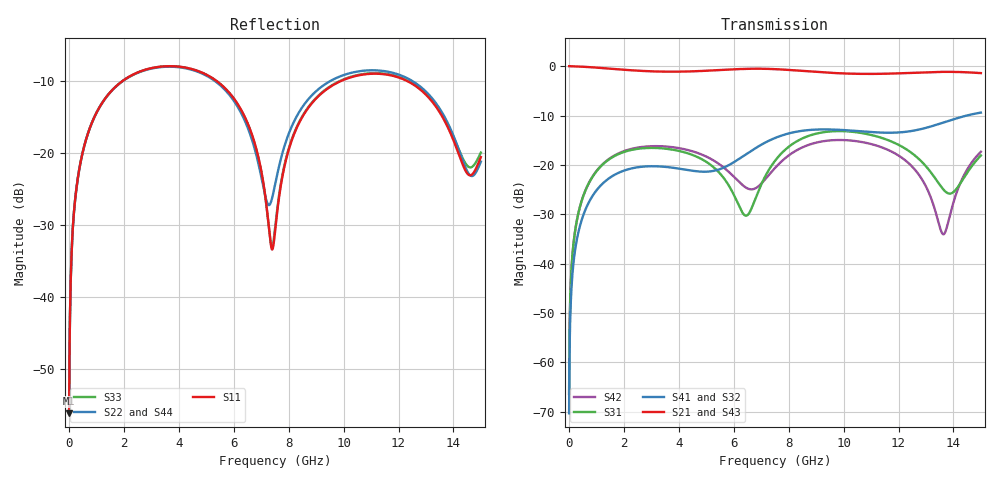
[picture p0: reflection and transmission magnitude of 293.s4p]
! Created with skrf 1.8.0 (http://scikit-rf.org).
# GHz S RI R 50.0
!freq ReS11 ImS11 ReS12 ImS12 ReS13 ImS13
! ReS14 ImS14
! ReS21 ImS21 ReS22 ImS22 ReS23 ImS23
! ReS24 ImS24
! ReS31 ImS31 ReS32 ImS32 ReS33 ImS33
! ReS34 ImS34
! ReS41 ImS41 ReS42 ImS42 ReS43 ImS43
! ReS44 ImS44
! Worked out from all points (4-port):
!   2499 points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, 5 MHz to 15 GHz, reference 50 ohm
!   strongest paths, dB at 5 MHz, 3.476 GHz, 7.19 GHz, 11.1 GHz, 15 GHz:
!     S21: 0.0, -1.1, -0.6, -1.6, -1.4
!     S43: 0.0, -1.1, -0.6, -1.6, -1.4
!     S41: -70.3, -20.4, -15.4, -13.4, -9.4
!     S32: -70.3, -20.4, -15.4, -13.4, -9.4
!     S31: -66.3, -16.7, -21.9, -14.1, -18.1
!     S42: -66.3, -16.3, -22.6, -15.9, -17.3
!   lowest |S11| = -56.2 dB at 5 MHz (marker M1), VSWR 1.00, Z = 50.1 + j0.0938 ohm
!   |S11| at or under -10 dB: start of sweep to 1.972 GHz; 5.354 GHz to 9.94 GHz (4.586 GHz wide, 60 % of centre); 12.28 GHz to end of sweep
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0.005  0.00123 0.000936  0.9987 -0.0024  6.02e-05 0.000478  -5.87e-05 -0.0003
       0.9987 -0.0024  0.00123 0.000936  -5.87e-05 -0.0003  6.04e-05 0.000478
       6.02e-05 0.000478  -5.87e-05 -0.0003  0.00123 0.000936  0.9987 -0.0024
       -5.87e-05 -0.0003  6.04e-05 0.000478  0.9987 -0.0024  0.00123 0.000936
0.4126719  0.0225 0.0808  0.9689 -0.196  0.0101 0.0375  -0.00867 -0.0233
           0.9689 -0.196  0.0224 0.0808  -0.00867 -0.0233  0.0108 0.0374
           0.0101 0.0375  -0.00867 -0.0233  0.0225 0.0808  0.9689 -0.196
           -0.00867 -0.0233  0.0108 0.0374  0.9689 -0.196  0.0224 0.0808
2.025844  0.2646 0.1825  0.565 -0.7227  0.1179 0.0675  -0.0876 -0.00875
          0.565 -0.7227  0.2617 0.1843  -0.0875 -0.00878  0.1269 0.0558
          0.1179 0.0675  -0.0875 -0.00878  0.2646 0.1825  0.565 -0.7227
          -0.0876 -0.00875  0.1269 0.0558  0.565 -0.7227  0.2617 0.1843
7.29679  0.0204 -0.0192  -0.9344 -0.0652  0.0482 0.0769  -0.0085 0.1764
         -0.9344 -0.0652  0.0433 0.000282  -0.009 0.1764  -0.0457 0.0659
         0.0482 0.0769  -0.009 0.1764  0.0213 -0.0181  -0.9345 -0.0647
         -0.0085 0.1764  -0.0457 0.0659  -0.9345 -0.0647  0.0423 0.00118
10.15423  0.3107 0.1054  -0.3656 0.7566  0.2155 -0.0355  0.2224 0.0255
          -0.3656 0.7566  0.3421 0.0855  0.2219 0.0265  0.1748 0.0306
          0.2155 -0.0355  0.2219 0.0265  0.3135 0.1056  -0.3649 0.756
          0.2224 0.0255  0.1748 0.0306  -0.3649 0.756  0.3438 0.0867
13.63068  0.124 -0.1202  0.7167 0.5009  -0.0458 -0.0332  0.1476 -0.2241
          0.7167 0.5009  0.1225 -0.1367  0.1482 -0.2237  -0.0189 -0.00615
          -0.0458 -0.0332  0.1482 -0.2237  0.1312 -0.1204  0.7154 0.5014
          0.1476 -0.2241  -0.0189 -0.00615  0.7154 0.5014  0.1203 -0.1427
15  0.0815 0.0448  0.8497 -0.00502  0.0178 0.1232  -0.0184 -0.3379
    0.8497 -0.00502  0.0798 0.0334  -0.0177 -0.3365  0.044 0.1287
    0.0178 0.1232  -0.0177 -0.3365  0.0912 0.041  0.8497 -0.00383
    -0.0184 -0.3379  0.044 0.1287  0.8497 -0.00383  0.0702 0.0304
